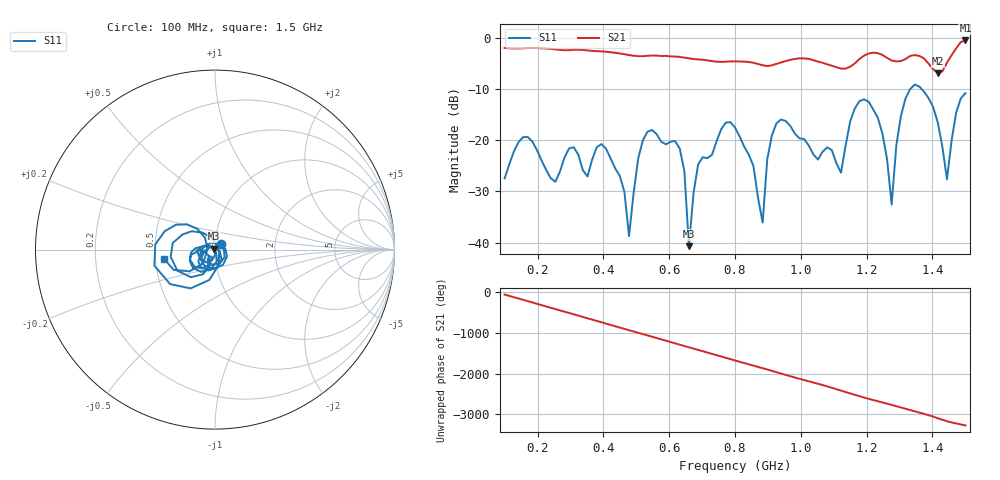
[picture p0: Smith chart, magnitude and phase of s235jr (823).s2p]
! NanoVNA-App
! Date: 2025-09-25 15:10:34
! Start: 100MHz Stop: 1,5GHz Points: 101
! S-Parameter data: F S11 S21 S12 S22
# Hz S RI R 50
!  Frequency  S11_Real  S11_Imag  S21_Real  S21_Imag  S12_Real  S12_Imag  S22_Real  S22_Imag
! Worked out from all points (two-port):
!   101 points, 100 MHz to 1.5 GHz, reference 50 ohm
!   highest |S21| = -0.51 dB at 1.5 GHz (marker M1); lowest = -6.9 dB at 1.416 GHz (marker M2)
!   |S21| within 3 dB of the highest: start of sweep to 494.4 MHz; 1.191 GHz to 1.252 GHz (60.91 MHz wide, 4.99 % of centre) (the widest 2 of 5)
!   lowest |S11| = -40.7 dB at 660 MHz (marker M3), VSWR 1.02, Z = 49.3 + j0.553 ohm
!   |S11| at or under -10 dB: start of sweep to 1.332 GHz; 1.367 GHz to end of sweep
!   S12 and S22 are empty: the file has one direction only
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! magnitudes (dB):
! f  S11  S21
! 100 MHz  -27.5  -2.0
! 156 MHz  -19.4  -2.0
! 338 MHz  -25.9  -2.4
! 408 MHz  -21.6  -2.7
! 478 MHz  -38.8  -3.4
! 520 MHz  -20.1  -3.6
! 576 MHz  -20.3  -3.6
! 632 MHz  -21.6  -3.7
! 660 MHz  -40.7  -4.0
! 688 MHz  -24.7  -4.2
! 800 MHz  -17.5  -4.6
! 884 MHz  -36.1  -5.4
! 926 MHz  -16.7  -5.1
! 1.038 GHz  -22.8  -4.4
! 1.122 GHz  -26.4  -6.0
! 1.206 GHz  -12.5  -3.1
! 1.276 GHz  -32.6  -4.4
! 1.304 GHz  -15.3  -4.5
! 1.332 GHz  -10.0  -3.5
! 1.416 GHz  -16.5  -6.9
! 1.444 GHz  -27.6  -4.8
! 1.5 GHz  -10.8  -0.5
